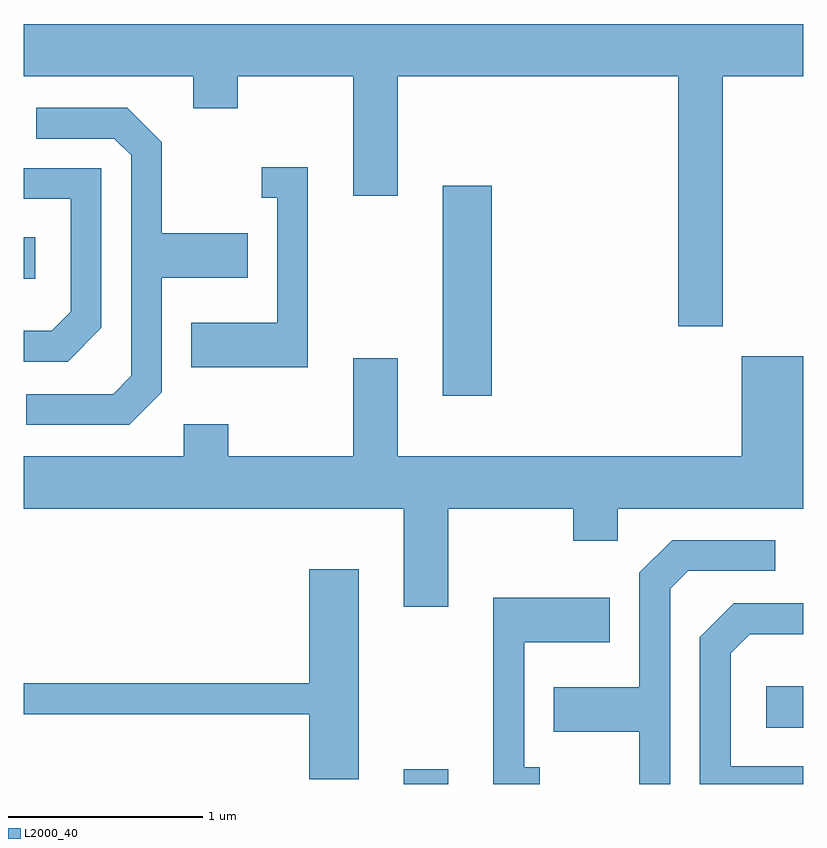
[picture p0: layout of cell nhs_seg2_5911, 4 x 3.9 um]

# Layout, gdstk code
import gdstk
lib = gdstk.Library(unit=1e-6, precision=1e-09)
def R(c, l, rs):  # rectangles x0, y0, x1, y1
    for r in rs: c.add(gdstk.rectangle(r[:2], r[2:], *l))
def P(c, l, *ps):  # polygons
    for p in ps: c.add(gdstk.Polygon(p, *l))
L2000_40 = (2000, 40)

nhs_seg2_5911 = lib.new_cell('nhs_seg2_5911')
R(nhs_seg2_5911, L2000_40, [(361.561,1035.802,361.789,1035.879), (363.421,1036.091,363.611,1036.304), (361.761,1037.796,362.014,1038.874), (359.611,1038.396,359.669,1038.609)])
P(nhs_seg2_5911, L2000_40, [(363.199,1039.436),(363.611,1039.436),(363.611,1039.704),(359.611,1039.704),(359.611,1039.436),(360.481,1039.436),(360.481,1039.271),(360.709,1039.271),(360.709,1039.436),(361.301,1039.436),(361.301,1038.821),(361.529,1038.821),(361.529,1039.436),(362.971,1039.436),(362.971,1038.151),(363.199,1038.151)],
  [(360.319,1037.814),(360.319,1038.401),(360.759,1038.401),(360.759,1038.629),(360.319,1038.629),(360.319,1039.097),(360.142,1039.274),(359.673,1039.274),(359.673,1039.116),(360.074,1039.116),(360.161,1039.029),(360.161,1037.897),(360.069,1037.804),(359.623,1037.804),(359.623,1037.646),(360.152,1037.646)],
  [(361.069,1038.969),(360.833,1038.969),(360.833,1038.811),(360.911,1038.811),(360.911,1038.169),(360.471,1038.169),(360.471,1037.941),(361.069,1037.941)],
  [(360.009,1038.144),(360.009,1038.964),(359.611,1038.964),(359.611,1038.806),(359.851,1038.806),(359.851,1038.227),(359.754,1038.129),(359.611,1038.129),(359.611,1037.971),(359.837,1037.971)],
  [(361.789,1037.216),(362.431,1037.216),(362.431,1037.051),(362.659,1037.051),(362.659,1037.216),(363.611,1037.216),(363.611,1037.999),(363.296,1037.999),(363.296,1037.484),(361.529,1037.484),(361.529,1037.989),(361.301,1037.989),(361.301,1037.484),(360.659,1037.484),(360.659,1037.649),(360.431,1037.649),(360.431,1037.484),(359.611,1037.484),(359.611,1037.216),(361.561,1037.216),(361.561,1036.711),(361.789,1036.711)],
  [(362.929,1036.804),(363.022,1036.896),(363.468,1036.896),(363.468,1037.054),(362.939,1037.054),(362.771,1036.887),(362.771,1036.299),(362.331,1036.299),(362.331,1036.071),(362.771,1036.071),(362.771,1035.802),(362.929,1035.802)],
  [(361.329,1036.904),(361.076,1036.904),(361.076,1036.319),(359.611,1036.319),(359.611,1036.161),(361.076,1036.161),(361.076,1035.826),(361.329,1035.826)],
  [(362.258,1035.889),(362.179,1035.889),(362.179,1036.531),(362.619,1036.531),(362.619,1036.759),(362.021,1036.759),(362.021,1035.802),(362.258,1035.802)],
  [(363.611,1035.894),(363.239,1035.894),(363.239,1036.474),(363.337,1036.571),(363.611,1036.571),(363.611,1036.729),(363.254,1036.729),(363.081,1036.556),(363.081,1035.802),(363.611,1035.802)])

lib.write_gds('nhs_seg2_5911.gds')
